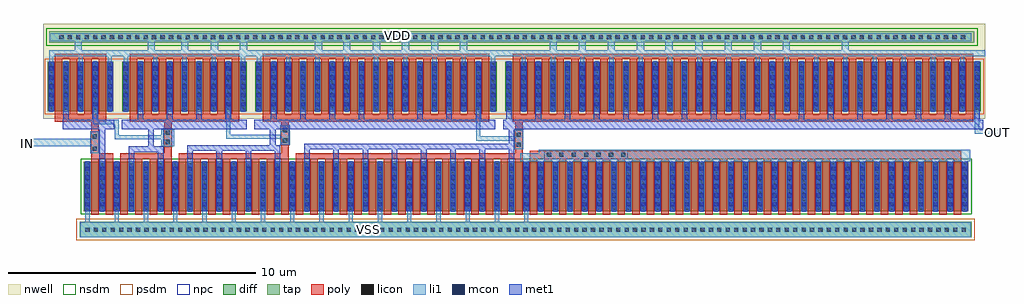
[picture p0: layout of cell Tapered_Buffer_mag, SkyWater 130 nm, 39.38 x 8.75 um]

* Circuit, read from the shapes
.subckt Tapered_Buffer_mag IN OUT VDD VSS
XM1 n1 IN VSS VSS sky130_fd_pr__nfet_01v8 w=2 l=0.3 m=2
XM2 n2 n1 VSS VSS sky130_fd_pr__nfet_01v8 w=2 l=0.3 m=4
XM3 n3 n2 VSS VSS sky130_fd_pr__nfet_01v8 w=2 l=0.3 m=8
XM4 OUT n3 VSS VSS sky130_fd_pr__nfet_01v8 w=2 l=0.3 m=16
XM5 VSS VSS VSS VSS sky130_fd_pr__nfet_01v8 w=2 l=0.3 m=30
XM6 n1 IN VDD VDD sky130_fd_pr__pfet_01v8 w=2 l=0.3 m=4
XM7 n2 n1 VDD VDD sky130_fd_pr__pfet_01v8 w=2 l=0.3 m=8
XM8 n3 n2 VDD VDD sky130_fd_pr__pfet_01v8 w=2 l=0.3 m=16
XM9 VDD n3 OUT VDD sky130_fd_pr__pfet_01v8 w=2 l=0.3 m=32
.ends

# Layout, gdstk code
import gdstk
lib = gdstk.Library(unit=1e-6, precision=1e-09)
def R(c, l, rs):  # rectangles x0, y0, x1, y1
    for r in rs: c.add(gdstk.rectangle(r[:2], r[2:], *l))
def A(c, l, x, y, w, h, nx, ny, dx, dy):  # array of equal rectangles
    R(c, l, [(x+i*dx, y+j*dy, x+i*dx+w, y+j*dy+h) for i in range(nx) for j in range(ny)])
nwell = (64, 20)
diff = (65, 20)
tap = (65, 44)
poly = (66, 20)
licon = (66, 44)
li1 = (67, 20)
mcon = (67, 44)
met1 = (68, 20)
nsdm = (93, 44)
psdm = (94, 20)
npc = (95, 20)

sky130_fd_pr__nfet_01v8_ = lib.new_cell('sky130_fd_pr__nfet_01v8_4LH2UU')
R(sky130_fd_pr__nfet_01v8_, diff, [(-0.735,-1,0.735,1)])
R(sky130_fd_pr__nfet_01v8_, poly, [(-0.445,-1.13,-0.145,1.13), (0.145,-1.13,0.445,1.13)])
A(sky130_fd_pr__nfet_01v8_, licon, -0.675, -0.935, 0.17, 0.17, 3, 6, 0.59, 0.34)
A(sky130_fd_pr__nfet_01v8_, li1, -0.675, -1.02, 0.17, 2.04, 3, 1, 0.59, 0)
A(sky130_fd_pr__nfet_01v8_, mcon, -0.675, -0.805, 0.17, 0.17, 3, 5, 0.59, 0.36)
A(sky130_fd_pr__nfet_01v8_, met1, -0.705, -1, 0.23, 2, 3, 1, 0.59, 0)
R(sky130_fd_pr__nfet_01v8_, nsdm, [(-0.86,-1.125,0.86,1.125)])

sky130_fd_pr__pfet_01v8_ = lib.new_cell('sky130_fd_pr__pfet_01v8_2PR8SB')
R(sky130_fd_pr__pfet_01v8_, nwell, [(-1.505,-1.31,1.505,1.31)])
R(sky130_fd_pr__pfet_01v8_, diff, [(-1.325,-1,1.325,1)])
A(sky130_fd_pr__pfet_01v8_, poly, -1.035, -1.13, 0.3, 2.26, 4, 1, 0.59, 0)
A(sky130_fd_pr__pfet_01v8_, licon, -1.265, -0.935, 0.17, 0.17, 5, 6, 0.59, 0.34)
A(sky130_fd_pr__pfet_01v8_, li1, -1.265, -1.02, 0.17, 2.04, 5, 1, 0.59, 0)
A(sky130_fd_pr__pfet_01v8_, mcon, -1.265, -0.805, 0.17, 0.17, 5, 5, 0.59, 0.36)
A(sky130_fd_pr__pfet_01v8_, met1, -1.295, -1, 0.23, 2, 5, 1, 0.59, 0)
R(sky130_fd_pr__pfet_01v8_, psdm, [(-1.45,-1.125,1.45,1.125)])

tapered_buffer_mag = lib.new_cell('Tapered_Buffer_mag')
A(tapered_buffer_mag, nwell, 33.46, 2.32, 0.17, 0.3, 4, 1, 1.18, 0)
A(tapered_buffer_mag, nwell, 5.61, 2.325, 0.17, 0.295, 3, 1, 1.18, 0)
A(tapered_buffer_mag, nwell, 10.98, 2.325, 0.17, 0.295, 6, 1, 1.18, 0)
A(tapered_buffer_mag, nwell, 20.48, 2.325, 0.17, 0.295, 9, 1, 1.18, 0)
R(tapered_buffer_mag, nwell, [(4.43,2.32,4.6,2.62), (8.62,2.32,8.79,2.62), (9.8,2.32,9.97,2.62), (18.06,2.32,18.23,2.62), (19.3,2.32,19.47,2.62), (31.1,2.32,31.27,2.62), (32.28,2.325,32.45,2.62), (0,2.62,38,3.845)])
R(tapered_buffer_mag, tap, [(1.46,-4.78,37.465,-4.15), (0.235,3.075,37.575,3.53)])
R(tapered_buffer_mag, poly, [(1.93,-1.69,2.23,-1.6), (4.88,-1.69,5.18,-1.6), (9.6,-1.69,9.9,-1.6), (19.04,-1.69,19.34,-1.6), (1.93,-1.6,2.82,-1.39), (3.11,-1.6,5.18,-1.39), (5.47,-1.6,9.9,-1.39), (10.19,-1.6,19.34,-1.39), (19.63,-1.6,37.04,-1.295), (1.93,-1.39,2.23,-0.12), (4.88,-1.39,5.18,-0.125), (9.6,-1.39,9.9,-0.12), (19.04,-1.39,19.34,-0.12), (3.48,-0.125,7.91,0.18), (0.47,-0.12,2.54,0.185), (8.85,-0.12,18,0.18), (18.94,-0.12,37.53,0.185), (0.47,2.435,2.54,2.62), (3.48,2.44,7.91,2.625), (8.85,2.44,18,2.625), (18.94,2.44,37.53,2.625)])
A(tapered_buffer_mag, licon, 1.695, -4.56, 0.17, 0.17, 105, 1, 0.34, 0)
A(tapered_buffer_mag, licon, 20.32, -1.53, 0.17, 0.17, 7, 1, 0.5, 0)
A(tapered_buffer_mag, licon, 0.645, 3.205, 0.17, 0.17, 108, 1, 0.34, 0)
R(tapered_buffer_mag, licon, [(1.99,-1.295,2.16,-1.125), (19.105,-1.125,19.275,-0.955), (4.94,-1.02,5.11,-0.85), (9.665,-0.955,9.835,-0.785), (1.99,-0.795,2.16,-0.625), (19.1,-0.73,19.27,-0.56), (4.94,-0.645,5.11,-0.475), (9.665,-0.535,9.835,-0.365)])
A(tapered_buffer_mag, li1, 6.42, -4.175, 0.17, 0.435, 3, 1, 3.54, 0)
A(tapered_buffer_mag, li1, 12.32, -4.175, 0.17, 0.43, 4, 1, 2.36, 0)
A(tapered_buffer_mag, li1, 33.46, 2.32, 0.17, 0.205, 4, 1, 1.18, 0)
A(tapered_buffer_mag, li1, 5.61, 2.325, 0.17, 0.2, 3, 1, 1.18, 0)
A(tapered_buffer_mag, li1, 10.98, 2.325, 0.17, 0.2, 6, 1, 1.18, 0)
A(tapered_buffer_mag, li1, 20.48, 2.325, 0.17, 0.2, 9, 1, 1.18, 0)
A(tapered_buffer_mag, li1, 20.43, 2.765, 0.295, 0.36, 3, 1, 1.17, 0)
R(tapered_buffer_mag, li1, [(1.49,-4.775,37.425,-4.175), (1.7,-4.175,1.87,-3.745), (2.88,-4.175,3.05,-3.745), (4.06,-4.175,4.23,-3.74), (5.24,-4.175,5.41,-3.745), (7.6,-4.175,7.77,-3.735), (8.78,-4.175,8.95,-3.735), (11.14,-4.175,11.31,-3.745), (15.86,-4.175,16.03,-3.735), (18.22,-4.175,18.39,-3.74), (19.25,-1.71,37.4,-1.39), (1.885,-1.39,2.265,-1.11), (19.99,-1.39,37.4,-1.25), (19.01,-1.22,19.37,-0.88), (4.765,-1.115,5.275,-0.825), (-0.78,-1.11,2.265,-0.805), (9.57,-1.05,9.93,-0.81), (17.47,-0.88,19.37,-0.71), (2.88,-0.825,5.275,-0.655), (7.38,-0.81,9.93,-0.64), (1.885,-0.805,2.265,-0.505), (17.47,-0.71,17.64,0.3), (19.01,-0.71,19.37,-0.44), (2.88,-0.655,3.05,-0.21), (4.765,-0.655,5.275,-0.415), (7.38,-0.64,7.55,0.295), (9.57,-0.64,9.93,-0.27), (37.59,-0.61,38.605,-0.44), (37.59,-0.44,37.76,0.33), (2.01,-0.21,3.05,-0.04), (2.01,-0.04,2.18,0.31), (2.6,2.225,2.77,2.525), (3.25,2.315,3.42,2.525), (4.43,2.32,4.6,2.525), (8.62,2.32,8.79,2.525), (9.8,2.32,9.97,2.525), (18.06,2.32,18.23,2.525), (19.3,2.32,19.47,2.525), (31.1,2.32,31.27,2.525), (0.24,2.325,0.41,2.525), (32.28,2.325,32.45,2.525), (1.42,2.33,1.59,2.525), (0.24,2.525,38,2.765), (1.265,2.765,1.56,3.125), (4.205,2.765,4.5,3.125), (5.56,2.765,5.855,3.125), (6.765,2.765,7.06,3.125), (7.925,2.765,8.22,3.125), (10.955,2.765,11.25,3.125), (12.1,2.765,12.395,3.125), (13.295,2.765,13.59,3.125), (14.47,2.765,14.765,3.125), (15.65,2.765,15.945,3.125), (16.805,2.765,17.1,3.125), (23.955,2.765,24.25,3.125), (25.105,2.765,25.4,3.125), (26.305,2.765,26.6,3.125), (27.495,2.765,27.79,3.125), (28.675,2.765,28.97,3.125), (29.83,2.765,30.125,3.125), (32.215,2.765,32.51,3.125), (0.26,3.125,37.45,3.455)])
A(tapered_buffer_mag, met1, 5.8, -1.73, 0.23, 0.445, 4, 1, 1.18, 0)
A(tapered_buffer_mag, met1, 10.52, -1.73, 0.23, 0.505, 8, 1, 1.18, 0)
A(tapered_buffer_mag, met1, 13.9, -0.045, 0.23, 0.37, 3, 1, 1.18, 0)
A(tapered_buffer_mag, met1, 24.58, -0.045, 0.23, 0.375, 4, 1, 1.18, 0)
A(tapered_buffer_mag, met1, 31.66, -0.045, 0.23, 0.37, 3, 1, 1.18, 0)
R(tapered_buffer_mag, met1, [(2.26,-1.74,2.49,-0.415), (3.44,-1.73,3.67,-1.345), (4.62,-1.73,4.85,-1.345), (3.44,-1.345,4.85,-1.115), (5.8,-1.285,9.57,-1.055), (10.52,-1.225,19.01,-0.995), (4.235,-1.115,4.465,-0.415), (9.145,-1.055,9.375,-0.415), (18.78,-0.995,19.01,-0.415), (0.775,-0.415,2.86,-0.045), (3.165,-0.415,8.215,-0.045), (8.52,-0.415,18.245,-0.045), (18.55,-0.415,37.935,-0.045), (0.8,-0.045,1.03,0.335), (1.98,-0.045,2.21,0.34), (3.81,-0.045,4.04,0.315), (4.99,-0.045,5.22,0.325), (6.17,-0.045,6.4,0.315), (7.35,-0.045,7.58,0.325), (9.18,-0.045,9.41,0.32), (10.36,-0.045,10.59,0.315), (11.54,-0.045,11.77,0.32), (12.72,-0.045,12.95,0.32), (17.44,-0.045,17.67,0.33), (18.68,-0.045,18.91,0.33), (19.86,-0.045,20.09,0.325), (21.04,-0.045,21.27,0.33), (22.22,-0.045,22.45,0.325), (23.4,-0.045,23.63,0.325), (29.3,-0.045,29.53,0.315), (30.48,-0.045,30.71,0.32), (35.2,-0.045,35.43,0.32), (36.38,-0.045,36.61,0.33), (37.56,-0.045,37.79,0.32)])
R(tapered_buffer_mag, nsdm, [(0.11,2.95,37.7,3.655)])
R(tapered_buffer_mag, psdm, [(1.335,-4.905,37.59,-4.025), (2.955,0.185,3.065,2.435), (8.325,0.185,8.435,2.435), (18.415,0.185,18.525,2.435)])
R(tapered_buffer_mag, npc, [(20.22,-1.63,23.59,-1.26), (1.89,-1.395,2.26,-0.525), (19.005,-1.225,19.375,-0.855), (4.84,-1.12,5.21,-0.375), (9.565,-1.055,9.935,-0.265), (19.005,-0.855,19.37,-0.83), (19,-0.83,19.37,-0.46)])
tapered_buffer_mag.add(gdstk.Reference(sky130_fd_pr__nfet_01v8_, (2.375,-2.73)))
tapered_buffer_mag.add(gdstk.Reference(sky130_fd_pr__nfet_01v8_, (3.555,-2.73)))
tapered_buffer_mag.add(gdstk.Reference(sky130_fd_pr__nfet_01v8_, (4.735,-2.73)))
tapered_buffer_mag.add(gdstk.Reference(sky130_fd_pr__nfet_01v8_, (5.915,-2.73)))
tapered_buffer_mag.add(gdstk.Reference(sky130_fd_pr__nfet_01v8_, (7.095,-2.73)))
tapered_buffer_mag.add(gdstk.Reference(sky130_fd_pr__nfet_01v8_, (9.455,-2.73)))
tapered_buffer_mag.add(gdstk.Reference(sky130_fd_pr__nfet_01v8_, (8.275,-2.73)))
tapered_buffer_mag.add(gdstk.Reference(sky130_fd_pr__nfet_01v8_, (10.635,-2.73)))
tapered_buffer_mag.add(gdstk.Reference(sky130_fd_pr__nfet_01v8_, (11.815,-2.73)))
tapered_buffer_mag.add(gdstk.Reference(sky130_fd_pr__nfet_01v8_, (12.995,-2.73)))
tapered_buffer_mag.add(gdstk.Reference(sky130_fd_pr__nfet_01v8_, (14.175,-2.73)))
tapered_buffer_mag.add(gdstk.Reference(sky130_fd_pr__nfet_01v8_, (15.355,-2.73)))
tapered_buffer_mag.add(gdstk.Reference(sky130_fd_pr__nfet_01v8_, (16.535,-2.73)))
tapered_buffer_mag.add(gdstk.Reference(sky130_fd_pr__nfet_01v8_, (17.715,-2.73)))
tapered_buffer_mag.add(gdstk.Reference(sky130_fd_pr__nfet_01v8_, (18.895,-2.73)))
tapered_buffer_mag.add(gdstk.Reference(sky130_fd_pr__nfet_01v8_, (21.255,-2.73)))
tapered_buffer_mag.add(gdstk.Reference(sky130_fd_pr__nfet_01v8_, (20.075,-2.73)))
tapered_buffer_mag.add(gdstk.Reference(sky130_fd_pr__nfet_01v8_, (24.795,-2.73)))
tapered_buffer_mag.add(gdstk.Reference(sky130_fd_pr__nfet_01v8_, (22.435,-2.73)))
tapered_buffer_mag.add(gdstk.Reference(sky130_fd_pr__nfet_01v8_, (23.615,-2.73)))
tapered_buffer_mag.add(gdstk.Reference(sky130_fd_pr__nfet_01v8_, (25.975,-2.73)))
tapered_buffer_mag.add(gdstk.Reference(sky130_fd_pr__nfet_01v8_, (27.155,-2.73)))
tapered_buffer_mag.add(gdstk.Reference(sky130_fd_pr__nfet_01v8_, (30.695,-2.73)))
tapered_buffer_mag.add(gdstk.Reference(sky130_fd_pr__nfet_01v8_, (29.515,-2.73)))
tapered_buffer_mag.add(gdstk.Reference(sky130_fd_pr__nfet_01v8_, (28.335,-2.73)))
tapered_buffer_mag.add(gdstk.Reference(sky130_fd_pr__nfet_01v8_, (33.055,-2.73)))
tapered_buffer_mag.add(gdstk.Reference(sky130_fd_pr__nfet_01v8_, (31.875,-2.73)))
tapered_buffer_mag.add(gdstk.Reference(sky130_fd_pr__nfet_01v8_, (36.595,-2.73)))
tapered_buffer_mag.add(gdstk.Reference(sky130_fd_pr__nfet_01v8_, (34.235,-2.73)))
tapered_buffer_mag.add(gdstk.Reference(sky130_fd_pr__nfet_01v8_, (35.415,-2.73)))
tapered_buffer_mag.add(gdstk.Reference(sky130_fd_pr__pfet_01v8_, (1.505,1.31)))
tapered_buffer_mag.add(gdstk.Reference(sky130_fd_pr__pfet_01v8_, (4.515,1.31)))
tapered_buffer_mag.add(gdstk.Reference(sky130_fd_pr__pfet_01v8_, (6.875,1.31)))
tapered_buffer_mag.add(gdstk.Reference(sky130_fd_pr__pfet_01v8_, (9.885,1.31)))
tapered_buffer_mag.add(gdstk.Reference(sky130_fd_pr__pfet_01v8_, (12.245,1.31)))
tapered_buffer_mag.add(gdstk.Reference(sky130_fd_pr__pfet_01v8_, (14.605,1.31)))
tapered_buffer_mag.add(gdstk.Reference(sky130_fd_pr__pfet_01v8_, (16.965,1.31)))
tapered_buffer_mag.add(gdstk.Reference(sky130_fd_pr__pfet_01v8_, (19.975,1.31)))
tapered_buffer_mag.add(gdstk.Reference(sky130_fd_pr__pfet_01v8_, (22.335,1.31)))
tapered_buffer_mag.add(gdstk.Reference(sky130_fd_pr__pfet_01v8_, (24.695,1.31)))
tapered_buffer_mag.add(gdstk.Reference(sky130_fd_pr__pfet_01v8_, (27.055,1.31)))
tapered_buffer_mag.add(gdstk.Reference(sky130_fd_pr__pfet_01v8_, (29.415,1.31)))
tapered_buffer_mag.add(gdstk.Reference(sky130_fd_pr__pfet_01v8_, (31.775,1.31)))
tapered_buffer_mag.add(gdstk.Reference(sky130_fd_pr__pfet_01v8_, (34.135,1.31)))
tapered_buffer_mag.add(gdstk.Reference(sky130_fd_pr__pfet_01v8_, (36.495,1.31)))
tapered_buffer_mag.add(gdstk.Label('IN', (-0.62,-0.98), layer=67, texttype=5))
tapered_buffer_mag.add(gdstk.Label('OUT', (38.495,-0.535), layer=67, texttype=5))
tapered_buffer_mag.add(gdstk.Label('VDD', (14.285,3.365), layer=67, texttype=5))
tapered_buffer_mag.add(gdstk.Label('VSS', (13.125,-4.48), layer=67, texttype=5))

lib.write_gds('Tapered_Buffer_mag.gds')
